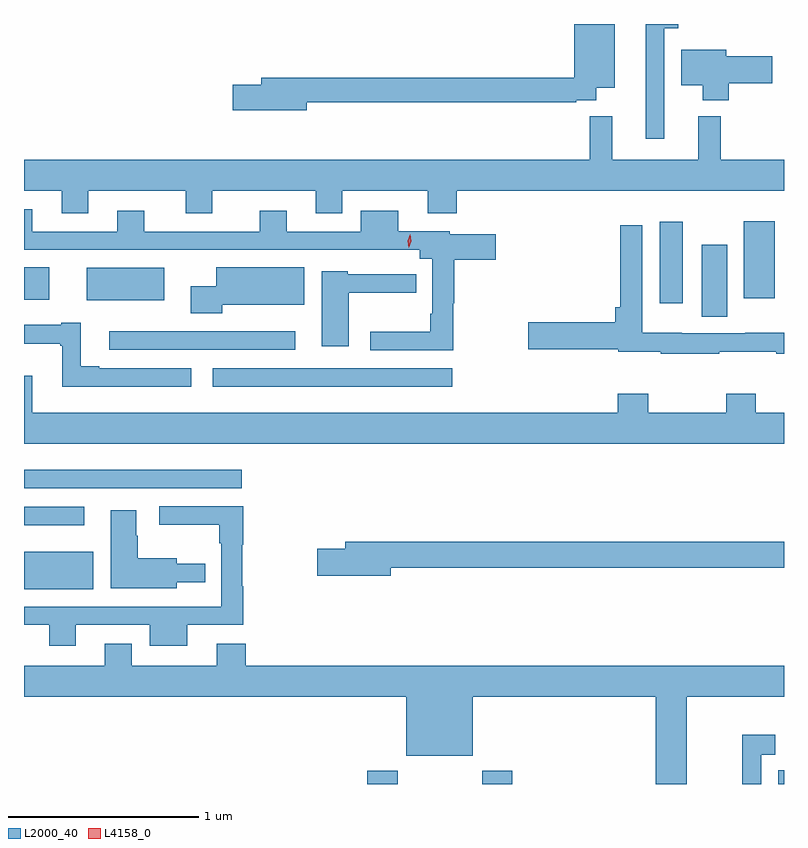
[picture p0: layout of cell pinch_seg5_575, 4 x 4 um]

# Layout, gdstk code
import gdstk
lib = gdstk.Library(unit=1e-6, precision=1e-09)
def R(c, l, rs):  # rectangles x0, y0, x1, y1
    for r in rs: c.add(gdstk.rectangle(r[:2], r[2:], *l))
def P(c, l, *ps):  # polygons
    for p in ps: c.add(gdstk.Polygon(p, *l))
L2000_40 = (2000, 40)
L4158_0 = (4158, 0)

pinch_seg5_575 = lib.new_cell('pinch_seg5_575')
R(pinch_seg5_575, L2000_40, [(1131.965,869.622,1132.125,869.692), (1132.57,869.622,1132.73,869.692), (1134.128,869.622,1134.159,869.695), (1130.159,870.647,1130.524,870.844), (1130.159,870.983,1130.476,871.08), (1130.159,871.179,1131.304,871.276), (1131.153,871.712,1132.414,871.809), (1133.726,872.08,1133.86,872.461), (1133.504,872.151,1133.626,872.581), (1130.489,872.168,1130.896,872.338), (1130.159,872.171,1130.293,872.341), (1133.948,872.178,1134.109,872.584)])
P(pinch_seg5_575, L2000_40, [(1133.529,873.599),(1133.603,873.599),(1133.603,873.622),(1133.432,873.622),(1133.432,873.018),(1133.529,873.018)],
  [(1131.646,873.21),(1133.066,873.21),(1133.066,873.222),(1133.17,873.222),(1133.17,873.287),(1133.269,873.287),(1133.269,873.622),(1133.054,873.622),(1133.054,873.338),(1131.407,873.338),(1131.407,873.302),(1131.258,873.302),(1131.258,873.167),(1131.646,873.167)],
  [(1133.867,873.31),(1134.097,873.31),(1134.097,873.452),(1133.854,873.452),(1133.854,873.487),(1133.618,873.487),(1133.618,873.299),(1133.732,873.299),(1133.732,873.221),(1133.867,873.221)],
  [(1130.497,872.744),(1131.011,872.744),(1131.011,872.627),(1131.151,872.627),(1131.151,872.744),(1131.695,872.744),(1131.695,872.627),(1131.835,872.627),(1131.835,872.744),(1132.283,872.744),(1132.283,872.627),(1132.436,872.627),(1132.436,872.744),(1134.159,872.744),(1134.159,872.908),(1133.825,872.908),(1133.825,873.136),(1133.708,873.136),(1133.708,872.908),(1133.255,872.908),(1133.255,873.137),(1133.137,873.137),(1133.137,872.908),(1130.159,872.908),(1130.159,872.744),(1130.357,872.744),(1130.357,872.627),(1130.497,872.627)],
  [(1132.417,872.153),(1132.424,872.153),(1132.424,872.381),(1132.642,872.381),(1132.642,872.515),(1132.401,872.515),(1132.401,872.531),(1132.129,872.531),(1132.129,872.638),(1131.932,872.638),(1131.932,872.529),(1131.541,872.529),(1131.541,872.638),(1131.401,872.638),(1131.401,872.529),(1130.791,872.529),(1130.791,872.638),(1130.651,872.638),(1130.651,872.529),(1130.203,872.529),(1130.203,872.647),(1130.159,872.647),(1130.159,872.433),(1132.241,872.433),(1132.241,872.386),(1132.308,872.386),(1132.308,872.098),(1132.296,872.098),(1132.296,872.003),(1131.981,872.003),(1131.981,871.905),(1132.417,871.905)],
  [(1133.819,871.897),(1134.119,871.897),(1134.119,871.887),(1134.159,871.887),(1134.159,871.997),(1133.956,871.997),(1133.956,871.995),(1133.622,871.995),(1133.622,871.996),(1133.412,871.996),(1133.412,872.563),(1133.296,872.563),(1133.296,872.131),(1133.27,872.131),(1133.27,872.051),(1132.812,872.051),(1132.812,871.909),(1133.286,871.909),(1133.286,871.897),(1133.509,871.897),(1133.509,871.887),(1133.819,871.887)],
  [(1131.202,872.144),(1131.634,872.144),(1131.634,872.341),(1131.17,872.341),(1131.17,872.241),(1131.036,872.241),(1131.036,872.099),(1131.202,872.099)],
  [(1131.868,872.207),(1132.223,872.207),(1132.223,872.304),(1131.864,872.304),(1131.864,872.32),(1131.725,872.32),(1131.725,871.926),(1131.868,871.926)],
  [(1131.04,871.809),(1130.554,871.809),(1130.554,871.822),(1130.458,871.822),(1130.458,872.05),(1130.354,872.05),(1130.354,872.038),(1130.159,872.038),(1130.159,871.94),(1130.349,871.94),(1130.349,871.929),(1130.36,871.929),(1130.36,871.712),(1131.04,871.712)],
  [(1131.586,872.005),(1131.298,872.005),(1131.298,872.004),(1130.892,872.004),(1130.892,872.005),(1130.607,872.005),(1130.607,871.908),(1131.586,871.908)],
  [(1134.159,871.576),(1134.009,871.576),(1134.009,871.675),(1133.854,871.675),(1133.854,871.576),(1133.445,871.576),(1133.445,871.675),(1133.285,871.675),(1133.285,871.576),(1130.203,871.576),(1130.203,871.771),(1130.159,871.771),(1130.159,871.412),(1134.159,871.412)],
  [(1130.431,870.459),(1130.822,870.459),(1130.822,870.35),(1131.019,870.35),(1131.019,870.459),(1131.314,870.459),(1131.314,870.662),(1131.307,870.662),(1131.307,870.88),(1131.314,870.88),(1131.314,871.083),(1130.871,871.083),(1130.871,870.986),(1131.186,870.986),(1131.186,870.89),(1131.198,870.89),(1131.198,870.555),(1130.159,870.555),(1130.159,870.459),(1130.291,870.459),(1130.291,870.35),(1130.431,870.35)],
  [(1130.962,870.684),(1131.113,870.684),(1131.113,870.782),(1130.962,870.782),(1130.962,870.811),(1130.757,870.811),(1130.757,870.929),(1130.749,870.929),(1130.749,871.063),(1130.615,871.063),(1130.615,870.653),(1130.962,870.653)],
  [(1132.09,870.76),(1134.159,870.76),(1134.159,870.896),(1131.851,870.896),(1131.851,870.86),(1131.702,870.86),(1131.702,870.718),(1132.09,870.718)],
  [(1133.647,870.08),(1134.159,870.08),(1134.159,870.244),(1131.326,870.244),(1131.326,870.361),(1131.173,870.361),(1131.173,870.244),(1130.725,870.244),(1130.725,870.361),(1130.585,870.361),(1130.585,870.244),(1130.159,870.244),(1130.159,870.08),(1132.172,870.08),(1132.172,869.771),(1132.522,869.771),(1132.522,870.08),(1133.483,870.08),(1133.483,869.622),(1133.647,869.622)],
  [(1134.039,869.775),(1134.112,869.775),(1134.112,869.881),(1133.938,869.881),(1133.938,869.622),(1134.039,869.622)])
P(pinch_seg5_575, L4158_0, [(1132.184,872.445),(1132.184,872.445),(1132.178,872.482),(1132.192,872.515),(1132.193,872.516),(1132.193,872.515),(1132.198,872.479),(1132.184,872.445)])

lib.write_gds('pinch_seg5_575.gds')
